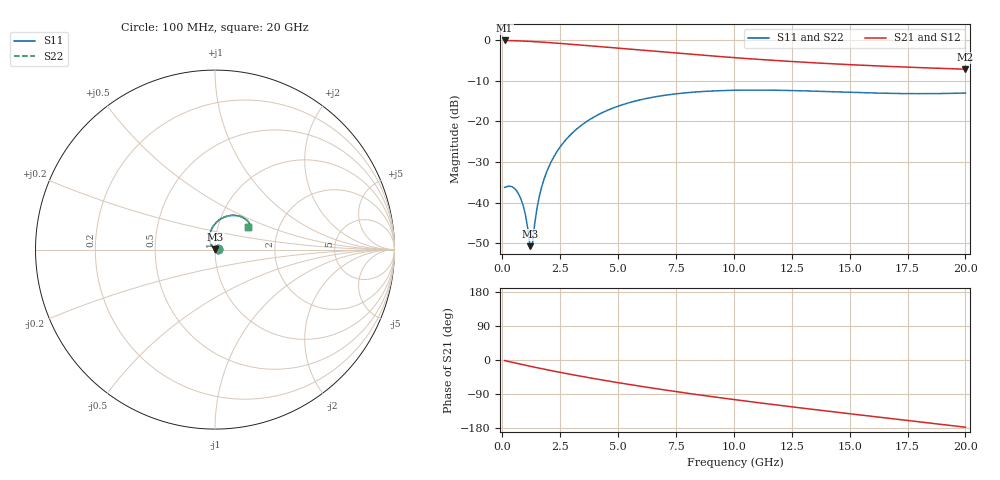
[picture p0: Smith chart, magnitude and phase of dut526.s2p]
! Touchstone file exported from HFSS 2024.1.0
!  File:  C:/UserFiles/LocalFiles/RDL_TSV_Batchsim/temp_RDL_TSV_526_1779743389.aedt
!  Generated:  05:22:50 AM May 26, 2026
!  Design:  RDL_TSV
!  Project:  temp_RDL_TSV_526_1779743389
!  Setup:  Setup1
!  Solution:  Sweep
! Variables:
!  dtsv = 6.53um
!  hbump = 3um
!  htsv = 74.13um
!  ldown = 132.91um
!  lrdl = 544.68um
!  p = 40
!  p1 = 40.91um
!  rhole = 10um
!  subl = 2577.45um
!  t = 450um
!  tdown = 3.48um
!  trdl = 2.45um
!  viad = 10um
!  wdown = 29.08um
!  wrdl = 25.6um
!  xbump = 18um
# GHz S MA R 50.000000
! Terminal data exported
! Port[1] = TM1_1_T1
! Port[2] = TM1_4_T1
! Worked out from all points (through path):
!   200 points, 100 MHz to 20 GHz, reference 50 ohm
!   highest |S21| = -0.14 dB at 100 MHz (marker M1); lowest = -7.2 dB at 20 GHz (marker M2)
!   group delay of S21, straight-line fit = 23.6 ps
!   lowest |S11| = -50.7 dB at 1.2 GHz (marker M3), VSWR 1.01, Z = 50.2 + j0.176 ohm
!   |S11| at or under -10 dB: start of sweep to end of sweep
!   |S22| runs from -50.8 to -12.3 dB; largest |S21 - S12| = 9.4e-15
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0.1  0.01538 2.3  0.9843 -1.5  0.9843 -1.5  0.01538 2.3
! Gamma 0 0 0 0
! Port Impedance 50 0 50 0
0.5  0.01517 0.1  0.9775 -7.1  0.9775 -7.1  0.01517 0.1
0.8  0.01116 -3.5  0.9704 -11.2  0.9704 -11.2  0.01116 -3.5
1  0.007071 -0.2  0.9648 -13.9  0.9648 -13.9  0.007055 -0.3
1.1  0.004815 8.6  0.9618 -15.2  0.9618 -15.2  0.004793 8.5
1.2  0.002913 37.1  0.9585 -16.5  0.9585 -16.5  0.002887 37.3
1.3  0.003102 93.7  0.9551 -17.8  0.9551 -17.8  0.003097 94.3
1.4  0.005493 120.4  0.9515 -19.1  0.9515 -19.1  0.005507 120.8
1.5  0.008577 128.9  0.9478 -20.4  0.9478 -20.4  0.008601 129.1
1.6  0.01196 131.8  0.944 -21.7  0.944 -21.7  0.01199 132.0
1.8  0.01928 132.3  0.9359 -24.2  0.9359 -24.2  0.01933 132.5
2  0.02715 130.4  0.9275 -26.7  0.9275 -26.7  0.02721 130.5
2.3  0.03968 126.2  0.9143 -30.3  0.9143 -30.3  0.03976 126.3
2.6  0.05278 121.5  0.9007 -33.9  0.9007 -33.9  0.05289 121.5
3.5  0.09296 107.2  0.8591 -44.1  0.8591 -44.1  0.09315 107.3
4.9  0.1496 87.9  0.7957 -58.8  0.7957 -58.8  0.1499 88.0
6.8  0.204 67.4  0.716 -77.1  0.716 -77.1  0.2045 67.5
8.4  0.2295 54.4  0.6566 -91.2  0.6566 -91.2  0.23 54.5
10.1  0.2405 43.9  0.6027 -105.1  0.6027 -105.1  0.2412 44.0
13.4  0.2347 32.1  0.5241 -130.2  0.5241 -130.2  0.2355 32.2
16.7  0.2204 29.9  0.4721 -153.9  0.4721 -153.9  0.2212 30.0
20  0.2225 33.7  0.4364 -177.3  0.4364 -177.3  0.2233 33.7
